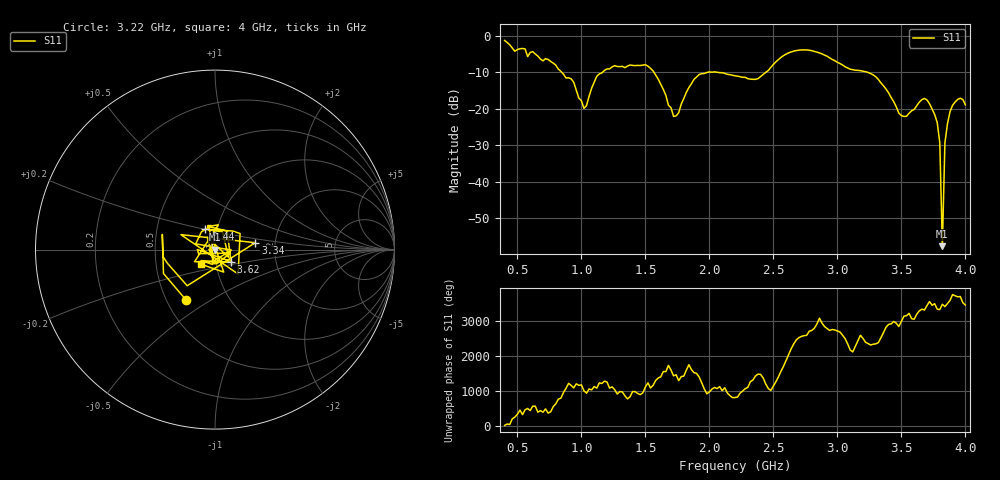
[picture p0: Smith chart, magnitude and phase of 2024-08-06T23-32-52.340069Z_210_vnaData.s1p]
!Created with skrf (http://scikit-rf.org).
# Hz S RI R 50.0
!freq ReS11 ImS11
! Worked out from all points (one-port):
!   181 points, 400 MHz to 4 GHz, reference 50 ohm
!   lowest |S11| = -57.7 dB at 3.82 GHz (marker M1), VSWR 1.00, Z = 49.9 - j0.118 ohm
!   |S11| at or under -10 dB: 1.568 GHz to 1.981 GHz (413.3 MHz wide, 23.3 % of centre); 2.072 GHz to 2.439 GHz (366.4 MHz wide, 16.2 % of centre); 3.24 GHz to end of sweep (the widest 3 of 4)
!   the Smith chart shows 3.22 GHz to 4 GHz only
!   S11 on the Smith chart (normalised r, x): 3.22 GHz: 0.63, -0.40; 3.34 GHz: 1.57, +0.13; 3.44 GHz: 0.88, +0.20; 3.62 GHz: 1.18, -0.16; 4 GHz: 0.84, -0.14
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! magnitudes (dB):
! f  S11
! 400 MHz  -1.2
! 860 MHz  -10.5
! 940 MHz  -12.7
! 1.02 GHz  -19.9
! 1.12 GHz  -11.0
! 1.3 GHz  -8.4
! 1.52 GHz  -8.3
! 1.72 GHz  -22.1
! 1.76 GHz  -21.1
! 1.92 GHz  -10.6
! 2.2 GHz  -10.9
! 2.38 GHz  -11.7
! 2.66 GHz  -4.1
! 3.1 GHz  -9.1
! 3.22 GHz  -9.8
! 3.34 GHz  -12.8
! 3.44 GHz  -18.0
! 3.5 GHz  -21.9
! 3.56 GHz  -21.2
! 3.62 GHz  -19.1
! 3.7 GHz  -17.6
! 3.78 GHz  -23.8
! 3.8 GHz  -29.3
! 3.82 GHz  -57.7
! 3.84 GHz  -29.3
! 3.86 GHz  -24.1
! 3.92 GHz  -18.1
! 4 GHz  -18.9
